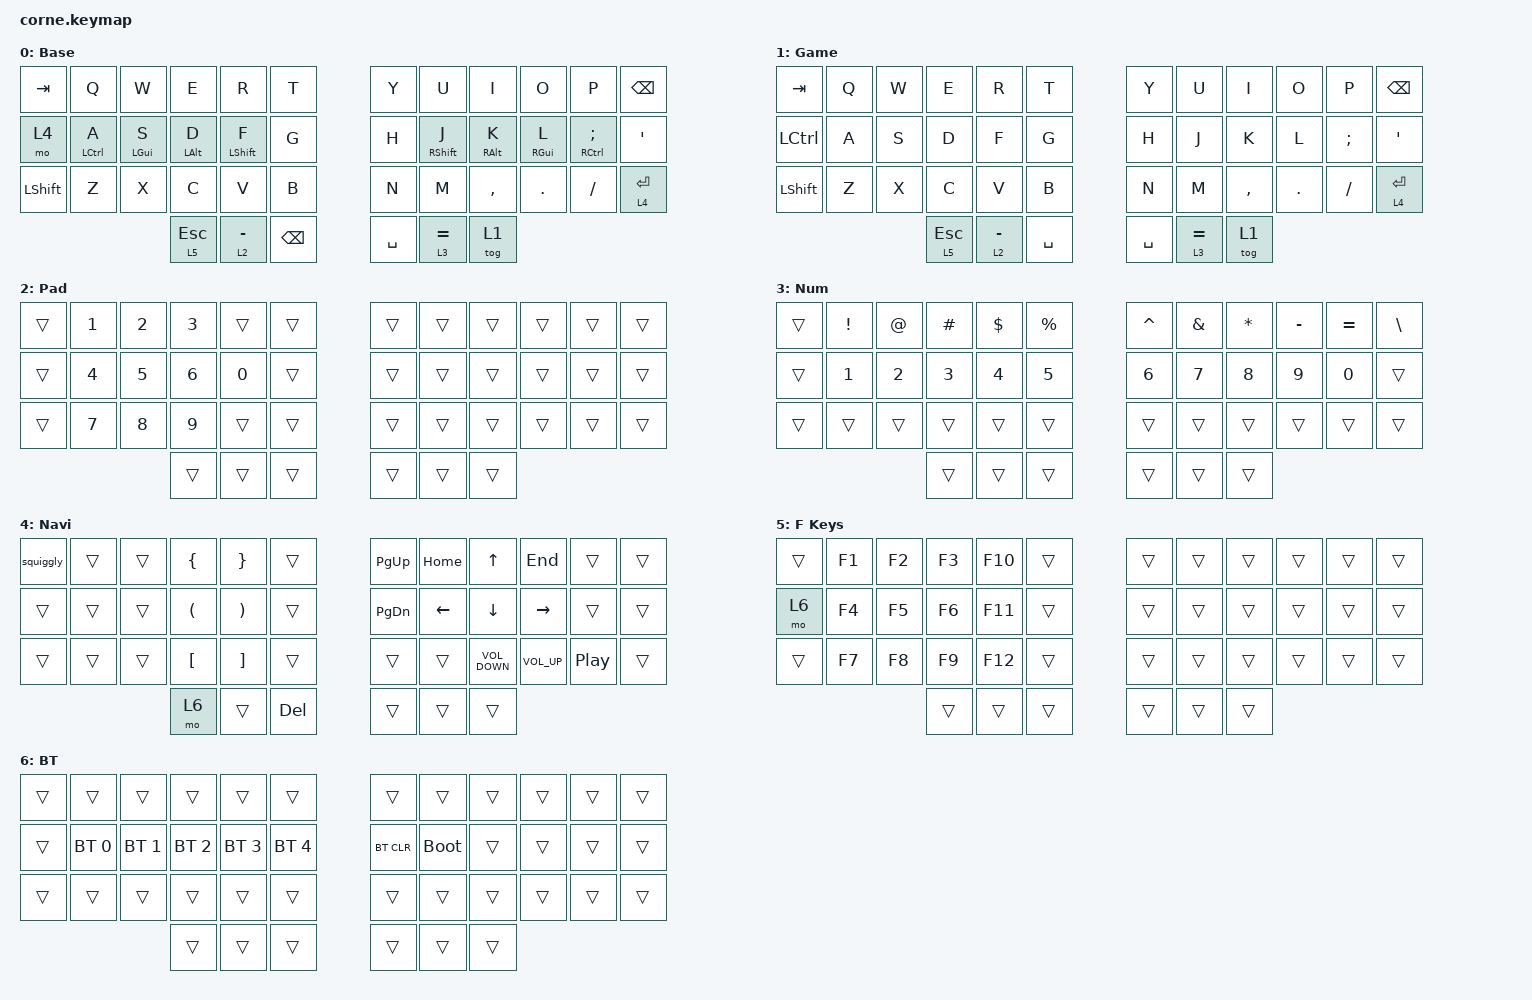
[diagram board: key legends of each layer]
/*
 * Copyright (c) 2020 The ZMK Contributors
 *
 * SPDX-License-Identifier: MIT
 */

#include <behaviors.dtsi>
#include <dt-bindings/zmk/bt.h>
#include <dt-bindings/zmk/keys.h>

/ {
    behaviors {
        homerow_mods: homerow_mods {
            compatible = "zmk,behavior-hold-tap";
            label = "HOMEROW_MODS";
            bindings =
                <&kp>,
                <&kp>;

            #binding-cells = <2>;
            tapping-term-ms = <250>;
            flavor = "tap-preferred";
            quick-tap-ms = <150>;
            global-quick-tap;
        };
        squiggly: squiggly {
            compatible = "zmk,behavior-tap-dance";
            label = "SQUIGGLY";
            #binding-cells = <0>;
            bindings =
                <&kp GRAVE>,
                <&kp TILDE>;
        };
    };

    keymap {
        compatible = "zmk,keymap";

        Base {
            // -----------------------------------------------------------------------------------------
            // |  TAB |  Q  |  W  |  E  |  R  |  T  |   |  Y  |  U   |  I  |  O  |  P  | BKSP |
            // | CTRL |  A  |  S  |  D  |  F  |  G  |   |  H  |  J   |  K  |  L  |  ;  |  '   |
            // | SHFT |  Z  |  X  |  C  |  V  |  B  |   |  N  |  M   |  ,  |  .  |  /  | ESC  |
            //                    | GUI | LWR | SPC |   | ENT | RSE  | ALT |

            bindings = <
  &kp TAB                         &kp Q                     &kp W                     &kp E                       &kp R          &kp T        &kp Y                        &kp U                      &kp I                      &kp O                                  &kp P     &kp BSPC
    &mo 4  &homerow_mods LEFT_CONTROL A  &homerow_mods LEFT_GUI S  &homerow_mods LEFT_ALT D  &homerow_mods LEFT_SHIFT F          &kp G        &kp H  &homerow_mods RIGHT_SHIFT J  &homerow_mods RIGHT_ALT K  &homerow_mods RIGHT_GUI L  &homerow_mods RIGHT_CONTROL SEMICOLON      &kp SQT
&kp LSHFT                         &kp Z                     &kp X                     &kp C                       &kp V          &kp B        &kp N                        &kp M                  &kp COMMA                    &kp DOT                               &kp FSLH  &lt 4 ENTER
                                                                               &lt 5 ESCAPE                 &lt 2 MINUS  &kp BACKSPACE    &kp SPACE                  &lt 3 EQUAL                     &tog 1
            >;

            label = "Base";
        };

        Gaming {
            bindings = <
  &kp TAB  &kp Q  &kp W         &kp E        &kp R      &kp T        &kp Y        &kp U      &kp I    &kp O     &kp P     &kp BSPC
&kp LCTRL  &kp A  &kp S         &kp D        &kp F      &kp G        &kp H        &kp J      &kp K    &kp L  &kp SEMI      &kp SQT
&kp LSHFT  &kp Z  &kp X         &kp C        &kp V      &kp B        &kp N        &kp M  &kp COMMA  &kp DOT  &kp FSLH  &lt 4 ENTER
                         &lt 5 ESCAPE  &lt 2 MINUS  &kp SPACE    &kp SPACE  &lt 3 EQUAL     &tog 1
            >;

            label = "Game";
        };

        Numpad {
            bindings = <
&trans  &kp NUMBER_1  &kp NUMBER_2  &kp NUMBER_3        &trans  &trans    &trans  &trans  &trans  &trans  &trans  &trans
&trans  &kp NUMBER_4  &kp NUMBER_5  &kp NUMBER_6  &kp NUMBER_0  &trans    &trans  &trans  &trans  &trans  &trans  &trans
&trans  &kp NUMBER_7  &kp NUMBER_8  &kp NUMBER_9        &trans  &trans    &trans  &trans  &trans  &trans  &trans  &trans
                                          &trans        &trans  &trans    &trans  &trans  &trans
            >;

            label = "Pad";
        };

        Numrow {
            bindings = <
&trans  &kp EXCLAMATION  &kp AT_SIGN  &kp POUND  &kp DOLLAR  &kp PERCENT    &kp CARET  &kp AMPERSAND  &kp STAR  &kp MINUS  &kp EQUAL  &kp BACKSLASH
&trans           &kp N1       &kp N2     &kp N3      &kp N4       &kp N5       &kp N6         &kp N7    &kp N8     &kp N9     &kp N0         &trans
&trans           &trans       &trans     &trans      &trans       &trans       &trans         &trans    &trans     &trans     &trans         &trans
                                         &trans      &trans       &trans       &trans         &trans    &trans
            >;

            label = "Num";
        };

        Navigation {
            bindings = <
&squiggly  &trans  &trans        &kp LEFT_BRACE        &kp RIGHT_BRACE      &trans      &kp PAGE_UP        &kp HOME       &kp UP_ARROW          &kp END            &trans  &trans
   &trans  &trans  &trans  &kp LEFT_PARENTHESIS  &kp RIGHT_PARENTHESIS      &trans    &kp PAGE_DOWN  &kp LEFT_ARROW     &kp DOWN_ARROW  &kp RIGHT_ARROW            &trans  &trans
   &trans  &trans  &trans      &kp LEFT_BRACKET      &kp RIGHT_BRACKET      &trans           &trans          &trans  &kp C_VOLUME_DOWN  &kp C_VOLUME_UP  &kp C_PLAY_PAUSE  &trans
                                          &mo 6                 &trans  &kp DELETE           &trans          &trans             &trans
            >;

            label = "Navi";
        };

        Function {
            bindings = <
&trans  &kp F1  &kp F2  &kp F3  &kp F10  &trans    &trans  &trans  &trans  &trans  &trans  &trans
 &mo 6  &kp F4  &kp F5  &kp F6  &kp F11  &trans    &trans  &trans  &trans  &trans  &trans  &trans
&trans  &kp F7  &kp F8  &kp F9  &kp F12  &trans    &trans  &trans  &trans  &trans  &trans  &trans
                        &trans   &trans  &trans    &trans  &trans  &trans
            >;

            label = "F Keys";
        };

        Bluetooth {
            bindings = <
&trans        &trans        &trans        &trans        &trans        &trans        &trans       &trans  &trans  &trans  &trans  &trans
&trans  &bt BT_SEL 0  &bt BT_SEL 1  &bt BT_SEL 2  &bt BT_SEL 3  &bt BT_SEL 4    &bt BT_CLR  &bootloader  &trans  &trans  &trans  &trans
&trans        &trans        &trans        &trans        &trans        &trans        &trans       &trans  &trans  &trans  &trans  &trans
                                          &trans        &trans        &trans        &trans       &trans  &trans
            >;

            label = "BT";
        };
    };
};
